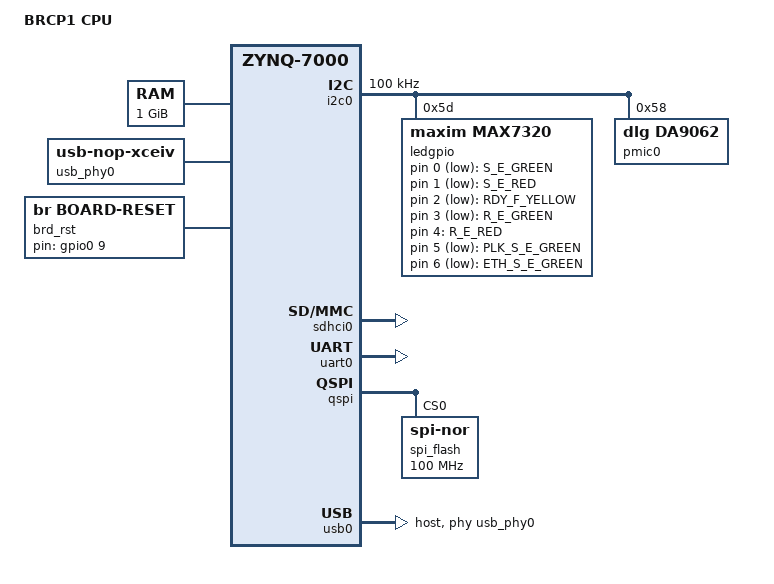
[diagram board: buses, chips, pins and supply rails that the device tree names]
// SPDX-License-Identifier: GPL-2.0+
/*
 * Copyright 2024 B&R Industrial Automation GmbH
 */

/include/ "zynq-7000.dtsi"
#include <dt-bindings/gpio/gpio.h>

/ {
	model = "BRCP1 CPU";
	compatible = "br,cp1",
		     "xlnx,zynq-7000";

	aliases {
		i2c0 = &i2c0;
		serial0 = &uart0;
		spi0 = &qspi;
		mmc0 = &sdhci0;
	};

	memory {
		device_type = "memory";
		reg = <0x0 0x40000000>;
	};

	chosen {
		stdout-path = "serial0:115200n8";
	};

	usb_phy0: phy0 {
		compatible = "usb-nop-xceiv";
		#phy-cells = <0>;
	};

	brd_rst: board_reset {
		compatible = "br,board-reset";
		pin = <&gpio0 9 GPIO_ACTIVE_HIGH>;
	};

	leds {
		compatible = "gpio-leds";
		se_green {
			label = "S_E_GREEN";
			gpios = <&ledgpio 0 GPIO_ACTIVE_LOW>;
			default-state = "off";
		};
		se_red {
			label = "S_E_RED";
			gpios = <&ledgpio 1 GPIO_ACTIVE_LOW>;
			default-state = "off";
		};
		rdy_f_yellow {
			label = "RDY_F_YELLOW";
			gpios = <&ledgpio 2 GPIO_ACTIVE_LOW>;
			default-state = "off";
		};
		re_green {
			label = "R_E_GREEN";
			gpios = <&ledgpio 3 GPIO_ACTIVE_LOW>;
			default-state = "off";
		};
		re_red {
			label = "R_E_RED";
			gpios = <&ledgpio 4 GPIO_ACTIVE_HIGH>;
			default-state = "off";
		};
		plk_se_green {
			label = "PLK_S_E_GREEN";
			gpios = <&ledgpio 5 GPIO_ACTIVE_LOW>;
			default-state = "off";
		};
		eth_se_green {
			label = "ETH_S_E_GREEN";
			gpios = <&ledgpio 6 GPIO_ACTIVE_LOW>;
			default-state = "off";
		};
	};
};

&i2c0 {
	status = "okay";
	clock-frequency = <100000>;

	ledgpio: max7320@5d {	/* board LED */
		status = "okay";
		compatible = "maxim,max7320";
		reg = <0x5d>;
		#gpio-cells = <2>;
		gpio-controller;
		ngpios = <8>;
	};

	pmic0: da9062@58 {
		compatible = "dlg,da9062";
		reg = <0x58>;
	};
};

&sdhci0 {
	status = "okay";
	max-frequency = <25000000>;
};

&uart0 {
	status = "okay";
};

&qspi {
	status = "okay";
	spi-max-frequency = <100000000>;

	spi_flash: spiflash@0 {
		#address-cells = <1>;
		#size-cells = <1>;
		compatible = "jedec,spi-nor", "spi-flash", "s25fl256s1";
		spi-max-frequency = <100000000>;
		spi-cpol;
		spi-cpha;
		reg = <0>;
	};
};

&usb0 {
	status = "okay";
	dr_mode = "host";
	usb-phy = <&usb_phy0>;
};

&gpio0 {
	status = "okay";
};
